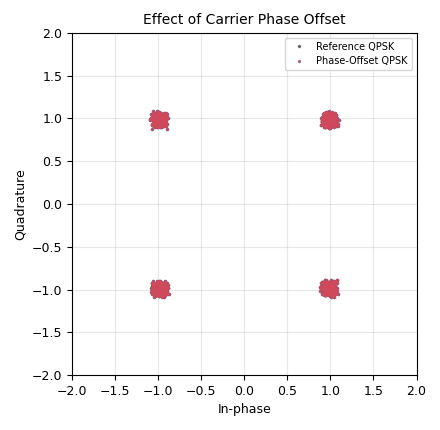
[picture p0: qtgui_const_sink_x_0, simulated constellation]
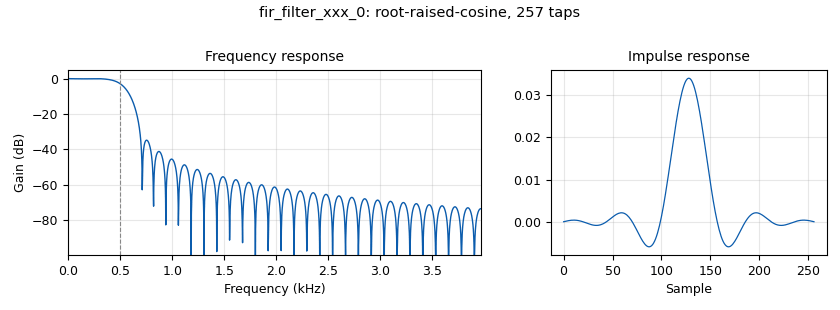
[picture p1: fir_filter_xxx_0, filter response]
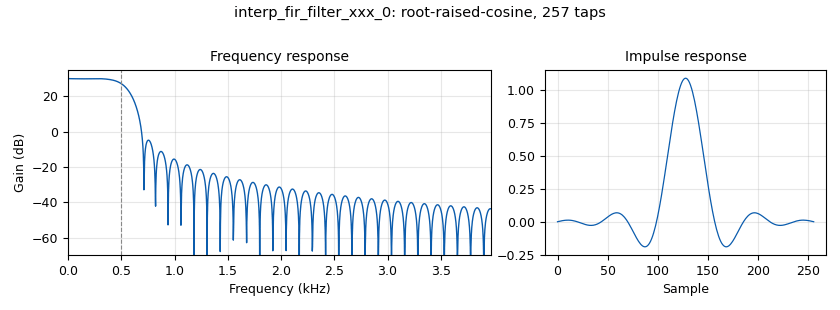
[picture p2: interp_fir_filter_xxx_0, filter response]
options:
  parameters:
    generate_options: qt_gui
    id: exp1
    output_language: python
    title: Effect of Carrier Phase Offset
  states: {}

blocks:
- name: alpha
  id: variable
  parameters:
    value: '0.35'
  states: {}
- name: carrier_freq
  id: variable
  parameters:
    value: '1000'
  states: {}
- name: ntaps
  id: variable
  parameters:
    value: span * sps + 1
  states: {}
- name: phase_offset
  id: variable_qtgui_range
  parameters:
    label: Carrier Phase Offset (deg)
    start: '-180'
    step: '5'
    stop: '180'
    value: '0'
  states: {}
- name: samp_rate
  id: variable
  parameters:
    value: '32000'
  states: {}
- name: span
  id: variable
  parameters:
    value: '8'
  states: {}
- name: sps
  id: variable
  parameters:
    value: int(samp_rate / symbol_rate)
  states: {}
- name: symbol_rate
  id: variable
  parameters:
    value: '1000'
  states: {}
- name: analog_random_source_x_0
  id: analog_random_source_x
  parameters:
    max: '2'
    min: '0'
    num_samps: '1000'
    repeat: 'True'
    type: byte
  states: {}
- name: analog_random_source_x_0_0
  id: analog_random_source_x
  parameters:
    max: '2'
    min: '0'
    num_samps: '1000'
    repeat: 'True'
    type: byte
  states: {}
- name: blocks_float_to_complex_0
  id: blocks_float_to_complex
  parameters: {}
  states: {}
- name: blocks_keep_one_in_n_0
  id: blocks_keep_one_in_n
  parameters:
    n: sps
    type: complex
  states: {}
- name: blocks_multiply_const_vxx_0
  id: blocks_multiply_const_vxx
  parameters:
    const: complex(math.cos(phase_offset*math.pi/180), math.sin(phase_offset*math.pi/180))
    type: complex
  states: {}
- name: blocks_throttle2_0
  id: blocks_throttle2
  parameters:
    samples_per_second: samp_rate
    type: complex
  states: {}
- name: digital_chunks_to_symbols_xx_0
  id: digital_chunks_to_symbols_xx
  parameters:
    dimension: '1'
    in_type: byte
    out_type: float
    symbol_table: '[-1,1]'
  states: {}
- name: digital_chunks_to_symbols_xx_0_0
  id: digital_chunks_to_symbols_xx
  parameters:
    dimension: '1'
    in_type: byte
    out_type: float
    symbol_table: '[-1,1]'
  states: {}
- name: fir_filter_xxx_0
  id: fir_filter_xxx
  parameters:
    decim: '1'
    taps: firdes.root_raised_cosine(1, samp_rate, symbol_rate, alpha, ntaps)
    type: ccf
  states: {}
- name: import_0
  id: import
  parameters:
    imports: import math
  states: {}
- name: interp_fir_filter_xxx_0
  id: interp_fir_filter_xxx
  parameters:
    interp: sps
    taps: firdes.root_raised_cosine(sps, samp_rate, symbol_rate, alpha, ntaps)
    type: ccf
  states: {}
- name: qtgui_const_sink_x_0
  id: qtgui_const_sink_x
  parameters:
    grid: 'True'
    label1: Reference QPSK
    label2: Phase-Offset QPSK
    name: Effect of Carrier Phase Offset
    nconnections: '2'
    size: '1024'
    type: complex
  states: {}

connections:
- [analog_random_source_x_0, '0', digital_chunks_to_symbols_xx_0, '0']
- [analog_random_source_x_0_0, '0', digital_chunks_to_symbols_xx_0_0, '0']
- [blocks_float_to_complex_0, '0', interp_fir_filter_xxx_0, '0']
- [blocks_keep_one_in_n_0, '0', blocks_multiply_const_vxx_0, '0']
- [blocks_keep_one_in_n_0, '0', qtgui_const_sink_x_0, '0']
- [blocks_multiply_const_vxx_0, '0', qtgui_const_sink_x_0, '1']
- [blocks_throttle2_0, '0', fir_filter_xxx_0, '0']
- [digital_chunks_to_symbols_xx_0, '0', blocks_float_to_complex_0, '0']
- [digital_chunks_to_symbols_xx_0_0, '0', blocks_float_to_complex_0, '1']
- [fir_filter_xxx_0, '0', blocks_keep_one_in_n_0, '0']
- [interp_fir_filter_xxx_0, '0', blocks_throttle2_0, '0']

metadata:
  file_format: 1
  grc_version: 3.10.12.0
